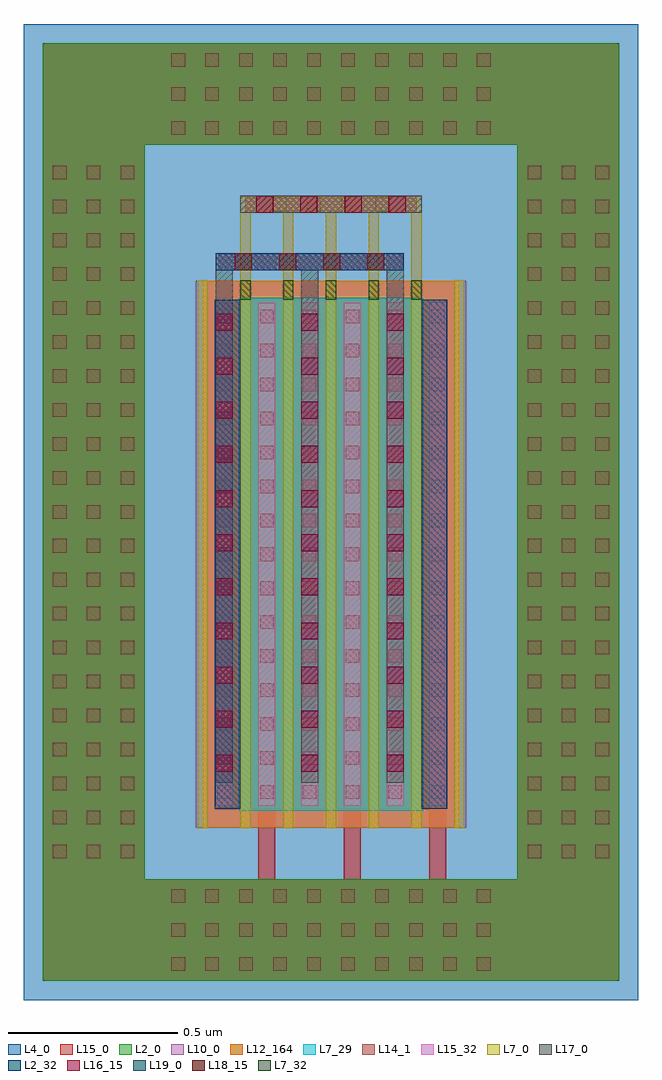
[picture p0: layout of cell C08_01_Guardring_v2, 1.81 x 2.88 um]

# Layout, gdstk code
import gdstk
lib = gdstk.Library(unit=1e-6, precision=1e-09)
def R(c, l, rs):  # rectangles x0, y0, x1, y1
    for r in rs: c.add(gdstk.rectangle(r[:2], r[2:], *l))
def A(c, l, x, y, w, h, nx, ny, dx, dy):  # array of equal rectangles
    R(c, l, [(x+i*dx, y+j*dy, x+i*dx+w, y+j*dy+h) for i in range(nx) for j in range(ny)])
L2_0 = (2, 0)
L2_32 = (2, 32)
L4_0 = (4, 0)
L7_0 = (7, 0)
L7_29 = (7, 29)
L7_32 = (7, 32)
L10_0 = (10, 0)
L12_164 = (12, 164)
L14_1 = (14, 1)
L15_0 = (15, 0)
L15_32 = (15, 32)
L16_15 = (16, 15)
L17_0 = (17, 0)
L18_15 = (18, 15)
L19_0 = (19, 0)

c08_01_guardring_v2_srf_ = lib.new_cell('C08_01_Guardring_v2:SRF_Tr11:SRF_Pmos:SRF_Source_ViaM1M2:SRF_ViaM1M2')
R(c08_01_guardring_v2_srf_, L15_0, [(0,-1.332,0.05,0.082)])
A(c08_01_guardring_v2_srf_, L16_15, 0, -1.3, 0.05, 0.05, 1, 11, 0, 0.13)
R(c08_01_guardring_v2_srf_, L17_0, [(0,-1.332,0.05,0.082)])

c_c08_01_guardring_v2_srf_ = lib.new_cell('C08_01_Guardring_v2:SRF_Tr11:SRF_Pmos:SRF_Source_ViaM1M2')
c_c08_01_guardring_v2_srf_.add(gdstk.Reference(c08_01_guardring_v2_srf_, (-0.025,0.625)))

c_c08_01_guardring_v2_srf__ = lib.new_cell('C08_01_Guardring_v2:SRF_Tr11:SRF_Pmos:SRF_Gate_ViaM0Mx:SRF_ViaM0M1')
R(c_c08_01_guardring_v2_srf__, L7_0, [(-0.01,-0.004,0.35,0.044)])
A(c_c08_01_guardring_v2_srf__, L14_1, 0, 0, 0.04, 0.04, 4, 1, 0.1, 0)
R(c_c08_01_guardring_v2_srf__, L15_0, [(-0.021,-0.005,0.361,0.045)])

c_c08_01_guardring_v2_srf___ = lib.new_cell('C08_01_Guardring_v2:SRF_Tr11:SRF_Pmos:SRF_Gate_ViaM0Mx:SRF_ViaM1M2')
R(c_c08_01_guardring_v2_srf___, L15_0, [(-0.032,0,0.472,0.05)])
A(c_c08_01_guardring_v2_srf___, L16_15, 0, 0, 0.05, 0.05, 4, 1, 0.13, 0)
R(c_c08_01_guardring_v2_srf___, L17_0, [(-0.032,0,0.472,0.05)])

c_c08_01_guardring_v2_srf____ = lib.new_cell('C08_01_Guardring_v2:SRF_Tr11:SRF_Pmos:SRF_Gate_ViaM0Mx')
c_c08_01_guardring_v2_srf____.add(gdstk.Reference(c_c08_01_guardring_v2_srf__, (-0.17,-0.02)))
c_c08_01_guardring_v2_srf____.add(gdstk.Reference(c_c08_01_guardring_v2_srf___, (-0.22,-0.025)))

c_c08_01_guardring_v2_srf_____ = lib.new_cell('C08_01_Guardring_v2:SRF_Tr11:SRF_Pmos')
R(c_c08_01_guardring_v2_srf_____, L2_0, [(-0.076,0.057,0.61,1.557)])
R(c_c08_01_guardring_v2_srf_____, L2_32, [(-0.076,0.057,0,1.557), (0.534,0.057,0.61,1.557)])
A(c_c08_01_guardring_v2_srf_____, L7_0, -0.126, 0, 0.03, 1.614, 7, 1, 0.126, 0)
A(c_c08_01_guardring_v2_srf_____, L7_0, 0, 1.614, 0.03, 0.2, 5, 1, 0.126, 0)
R(c_c08_01_guardring_v2_srf_____, L7_0, [(0,1.814,0.534,1.862)])
R(c_c08_01_guardring_v2_srf_____, L7_29, [(-0.005,0.052,0.539,1.562)])
A(c_c08_01_guardring_v2_srf_____, L7_32, 0, 1.557, 0.03, 0.057, 5, 1, 0.126, 0)
R(c_c08_01_guardring_v2_srf_____, L10_0, [(-0.132,0.001,0.666,1.613)])
R(c_c08_01_guardring_v2_srf_____, L12_164, [(-0.111,0.001,0.645,1.613)])
A(c_c08_01_guardring_v2_srf_____, L14_1, -0.068, 0.087, 0.04, 0.04, 6, 15, 0.126, 0.1)
R(c_c08_01_guardring_v2_srf_____, L15_0, [(-0.073,0.066,-0.023,1.548), (-0.073,0.066,-0.023,1.548), (0.053,0.066,0.103,1.548), (0.053,0.066,0.103,1.548), (0.179,0.066,0.229,1.548), (0.179,0.066,0.229,1.548), (0.305,0.066,0.355,1.548), (0.305,0.066,0.355,1.548), (0.431,0.066,0.481,1.548), (0.431,0.066,0.481,1.548), (0.557,0.066,0.607,1.548), (0.557,0.066,0.607,1.548)])
A(c_c08_01_guardring_v2_srf_____, L15_32, -0.073, 0.066, 0.05, 1.482, 6, 1, 0.126, 0)
A(c_c08_01_guardring_v2_srf_____, L17_0, -0.073, 1.548, 0.05, 0.095, 3, 1, 0.252, 0)
R(c_c08_01_guardring_v2_srf_____, L17_0, [(-0.073,1.643,0.481,1.693), (0,1.813,0.534,1.863)])
c_c08_01_guardring_v2_srf_____.add(gdstk.Reference(c_c08_01_guardring_v2_srf_, (-0.048,0.841)))
c_c08_01_guardring_v2_srf_____.add(gdstk.Reference(c_c08_01_guardring_v2_srf_, (0.204,0.841)))
c_c08_01_guardring_v2_srf_____.add(gdstk.Reference(c_c08_01_guardring_v2_srf_, (0.456,0.841)))
c_c08_01_guardring_v2_srf_____.add(gdstk.Reference(c_c08_01_guardring_v2_srf____, (0.267,1.838)))

c_c08_01_guardring_v2_srf______ = lib.new_cell('C08_01_Guardring_v2:SRF_Tr11:SRF_Source_ViaM2M3:SRF_ViaM2M3')
R(c_c08_01_guardring_v2_srf______, L17_0, [(-0.032,0,0.472,0.05)])
A(c_c08_01_guardring_v2_srf______, L18_15, 0, 0, 0.05, 0.05, 4, 1, 0.13, 0)
R(c_c08_01_guardring_v2_srf______, L19_0, [(-0.032,0,0.472,0.05)])

c_c08_01_guardring_v2_srf_______ = lib.new_cell('C08_01_Guardring_v2:SRF_Tr11:SRF_Source_ViaM2M3')
c_c08_01_guardring_v2_srf_______.add(gdstk.Reference(c_c08_01_guardring_v2_srf______, (-0.22,-0.025)))

c_c08_01_guardring_v2_srf________ = lib.new_cell('C08_01_Guardring_v2:SRF_Tr11')
R(c_c08_01_guardring_v2_srf________, L19_0, [(-0.073,1.643,0.481,1.693)])
c_c08_01_guardring_v2_srf________.add(gdstk.Reference(c_c08_01_guardring_v2_srf_____, (0,0)))
c_c08_01_guardring_v2_srf________.add(gdstk.Reference(c_c08_01_guardring_v2_srf_______, (0.204,1.668)))

c08_01_guardring_v2__nbo = lib.new_cell('C08_01_Guardring_v2:_Nbodyring:SRF_NbodyTop:SRF_NbodyContactPhyLen')
R(c08_01_guardring_v2__nbo, L2_0, [(-0.079,-0.23,1.019,0.07)])
R(c08_01_guardring_v2__nbo, L4_0, [(-0.135,-0.286,1.075,0.126)])
A(c08_01_guardring_v2__nbo, L14_1, 0, -0.2, 0.04, 0.04, 10, 3, 0.1, 0.1)
R(c08_01_guardring_v2__nbo, L15_0, [(-0.079,-0.23,1.019,0.07)])

c_c08_01_guardring_v2__nbo = lib.new_cell('C08_01_Guardring_v2:_Nbodyring:SRF_NbodyTop')
c_c08_01_guardring_v2__nbo.add(gdstk.Reference(c08_01_guardring_v2__nbo, (0,0)))

c_c08_01_guardring_v2__nbo_ = lib.new_cell('C08_01_Guardring_v2:_Nbodyring:SRF_NbodyBottom:SRF_NbodyContactPhyLen')
R(c_c08_01_guardring_v2__nbo_, L2_0, [(-0.079,-0.23,1.019,0.07)])
R(c_c08_01_guardring_v2__nbo_, L4_0, [(-0.135,-0.286,1.075,0.126)])
A(c_c08_01_guardring_v2__nbo_, L14_1, 0, -0.2, 0.04, 0.04, 10, 3, 0.1, 0.1)
R(c_c08_01_guardring_v2__nbo_, L15_0, [(-0.079,-0.23,1.019,0.07)])

c_c08_01_guardring_v2__nbo__ = lib.new_cell('C08_01_Guardring_v2:_Nbodyring:SRF_NbodyBottom')
c_c08_01_guardring_v2__nbo__.add(gdstk.Reference(c_c08_01_guardring_v2__nbo_, (0,0)))

c_c08_01_guardring_v2__nbo___ = lib.new_cell('C08_01_Guardring_v2:_Nbodyring:SRF_NbodyLeft:SRF_NbodyContactPhyLen')
R(c_c08_01_guardring_v2__nbo___, L2_0, [(-0.03,-2.062,0.27,0.101)])
R(c_c08_01_guardring_v2__nbo___, L4_0, [(-0.086,-2.118,0.326,0.157)])
A(c_c08_01_guardring_v2__nbo___, L14_1, 0, -2, 0.04, 0.04, 3, 21, 0.1, 0.1)
R(c_c08_01_guardring_v2__nbo___, L15_0, [(-0.03,-2.062,0.27,0.101)])

c_c08_01_guardring_v2__nbo____ = lib.new_cell('C08_01_Guardring_v2:_Nbodyring:SRF_NbodyLeft')
c_c08_01_guardring_v2__nbo____.add(gdstk.Reference(c_c08_01_guardring_v2__nbo___, (0,0)))

c_c08_01_guardring_v2__nbo_____ = lib.new_cell('C08_01_Guardring_v2:_Nbodyring:SRF_NbodyRight:SRF_NbodyContactPhyLen')
R(c_c08_01_guardring_v2__nbo_____, L2_0, [(-0.03,-2.062,0.27,0.101)])
R(c_c08_01_guardring_v2__nbo_____, L4_0, [(-0.086,-2.118,0.326,0.157)])
A(c_c08_01_guardring_v2__nbo_____, L14_1, 0, -2, 0.04, 0.04, 3, 21, 0.1, 0.1)
R(c_c08_01_guardring_v2__nbo_____, L15_0, [(-0.03,-2.062,0.27,0.101)])

c_c08_01_guardring_v2__nbo______ = lib.new_cell('C08_01_Guardring_v2:_Nbodyring:SRF_NbodyRight')
c_c08_01_guardring_v2__nbo______.add(gdstk.Reference(c_c08_01_guardring_v2__nbo_____, (0,0)))

c_c08_01_guardring_v2__nbo_______ = lib.new_cell('C08_01_Guardring_v2:_Nbodyring')
R(c_c08_01_guardring_v2__nbo_______, L2_0, [(-0.379,-2.693,1.319,-2.393), (-0.379,-2.693,-0.079,0.07), (1.019,-2.693,1.319,0.07), (-0.379,-0.23,1.319,0.07)])
R(c_c08_01_guardring_v2__nbo_______, L4_0, [(-0.435,-2.749,1.375,-2.337), (-0.435,-2.749,-0.023,0.126), (0.963,-2.749,1.375,0.126), (-0.435,-0.286,1.375,0.126)])
R(c_c08_01_guardring_v2__nbo_______, L15_0, [(-0.379,-2.693,1.319,-2.393), (-0.379,-2.693,-0.079,0.07), (1.019,-2.693,1.319,0.07), (-0.379,-0.23,1.319,0.07)])
c_c08_01_guardring_v2__nbo_______.add(gdstk.Reference(c_c08_01_guardring_v2__nbo, (0,0)))
c_c08_01_guardring_v2__nbo_______.add(gdstk.Reference(c_c08_01_guardring_v2__nbo__, (0,-2.463)))
c_c08_01_guardring_v2__nbo_______.add(gdstk.Reference(c_c08_01_guardring_v2__nbo____, (-0.349,-0.331)))
c_c08_01_guardring_v2__nbo_______.add(gdstk.Reference(c_c08_01_guardring_v2__nbo______, (1.049,-0.331)))

c08_01_guardring_v2 = lib.new_cell('C08_01_Guardring_v2')
R(c08_01_guardring_v2, L4_0, [(-0.638,-0.506,1.172,2.369)])
A(c08_01_guardring_v2, L15_0, 0.053, -0.15, 0.05, 0.216, 3, 1, 0.252, 0)
c08_01_guardring_v2.add(gdstk.Reference(c_c08_01_guardring_v2_srf________, (0,0)))
c08_01_guardring_v2.add(gdstk.Reference(c_c08_01_guardring_v2__nbo_______, (-0.203,2.243)))

lib.write_gds('C08_01_Guardring_v2.gds')
